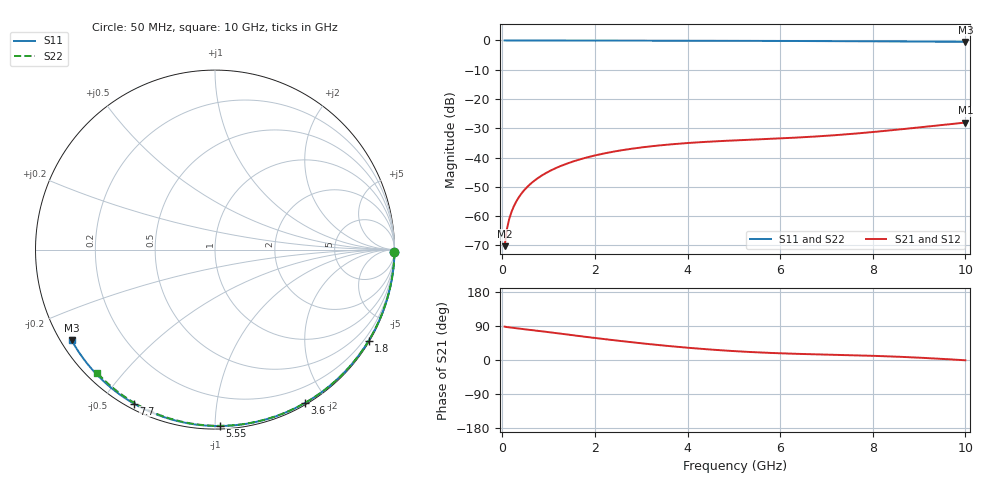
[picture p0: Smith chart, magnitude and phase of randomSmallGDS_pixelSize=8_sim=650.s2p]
! freq	dB(S11)	phase(S11)	dB(S12)	phase(S12)
!  dB(S21)	phase(S21)	dB(S22)	phase(S22)
!S-par simulation data
#  GHz  S  DB  R 50
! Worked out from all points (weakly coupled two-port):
!   200 points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, 50 MHz to 10 GHz, reference 50 ohm
!   highest |S21| = -28.06 dB at 10 GHz (marker M1); lowest = -70.3 dB at 50 MHz (marker M2)
!   lowest |S11| = -0.5 dB at 10 GHz (marker M3), VSWR 35.40, Z = 1.53 - j14.5 ohm
!   |S11| at or under -10 dB: nowhere
!   |S22| runs from -0.4 to 0.0 dB; largest |S21 - S12| = 0
!   S11 on the Smith chart (normalised r, x): 50 MHz: open; 1.8 GHz: 0.03, -3.66; 3.6 GHz: 0.02, -1.75; 5.55 GHz: 0.02, -1.03; 7.7 GHz: 0.02, -0.60; 10 GHz: 0.03, -0.29
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0.05  -0.00 -0.9  -70.29 88.0  -70.29 88.0  -0.00 -0.8
0.1  -0.00 -1.7  -64.41 86.8  -64.41 86.8  -0.00 -1.6
0.15  -0.00 -2.6  -60.98 86.1  -60.98 86.1  -0.00 -2.4
0.2  -0.00 -3.5  -58.53 85.5  -58.53 85.5  -0.00 -3.2
0.25  -0.00 -4.3  -56.63 84.8  -56.63 84.8  -0.00 -3.9
0.35  -0.00 -6.1  -53.75 83.4  -53.75 83.4  -0.00 -5.5
0.5  -0.01 -8.6  -50.69 81.2  -50.69 81.2  -0.01 -7.9
0.7  -0.01 -12.1  -47.82 78.1  -47.82 78.1  -0.01 -11.0
1  -0.02 -17.2  -44.81 73.5  -44.81 73.5  -0.02 -15.6
1.35  -0.03 -23.1  -42.35 68.0  -42.35 68.0  -0.03 -21.0
1.75  -0.04 -29.8  -40.30 61.9  -40.30 61.9  -0.03 -27.1
1.8  -0.04 -30.6  -40.09 61.1  -40.09 61.1  -0.04 -27.9
2.5  -0.05 -42.1  -37.72 50.9  -37.72 50.9  -0.05 -38.3
3.4  -0.08 -56.4  -35.85 39.2  -35.85 39.2  -0.07 -51.5
3.6  -0.08 -59.5  -35.56 36.8  -35.56 36.8  -0.07 -54.3
4.3  -0.10 -70.2  -34.74 29.4  -34.74 29.4  -0.09 -64.1
5.05  -0.13 -81.3  -34.13 23.1  -34.13 23.1  -0.11 -74.2
5.55  -0.14 -88.5  -33.78 19.9  -33.78 19.9  -0.13 -80.8
6.7  -0.20 -104.4  -32.88 15.1  -32.88 15.1  -0.18 -95.3
7.7  -0.27 -117.7  -31.72 12.1  -31.72 12.1  -0.24 -107.3
8.35  -0.32 -126.2  -30.77 9.6  -30.77 9.6  -0.29 -114.9
10  -0.49 -147.6  -28.06 -0.7  -28.06 -0.7  -0.44 -133.7
